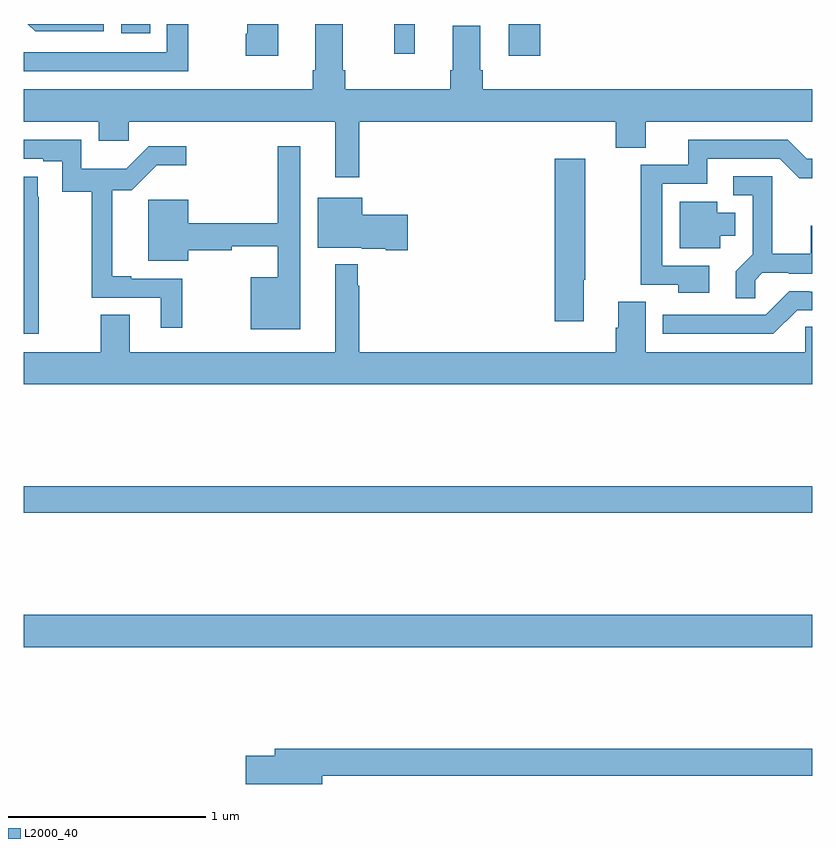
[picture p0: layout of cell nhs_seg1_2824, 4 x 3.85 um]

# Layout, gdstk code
import gdstk
lib = gdstk.Library(unit=1e-6, precision=1e-09)
def R(c, l, rs):  # rectangles x0, y0, x1, y1
    for r in rs: c.add(gdstk.rectangle(r[:2], r[2:], *l))
def P(c, l, *ps):  # polygons
    for p in ps: c.add(gdstk.Polygon(p, *l))
L2000_40 = (2000, 40)

nhs_seg1_2824 = lib.new_cell('nhs_seg1_2824')
R(nhs_seg1_2824, L2000_40, [(263,577.04,267,577.204), (263,577.72,267,577.856), (265.46,580.038,265.619,580.199), (264.88,580.047,264.983,580.199), (263.496,580.152,263.642,580.199)])
P(nhs_seg1_2824, L2000_40, [(264.292,580.199),(264.134,580.199),(264.134,580.15),(264.127,580.15),(264.127,580.038),(264.292,580.038)],
  [(263.836,580.199),(263.727,580.199),(263.727,580.056),(263,580.056),(263,579.96),(263.836,579.96)],
  [(263.406,580.199),(263.022,580.199),(263.06,580.161),(263.406,580.161)],
  [(264.703,579.704),(266.003,579.704),(266.003,579.571),(266.155,579.571),(266.155,579.704),(267,579.704),(267,579.868),(265.328,579.868),(265.328,579.964),(265.315,579.964),(265.315,580.189),(265.175,580.189),(265.175,579.964),(265.163,579.964),(265.163,579.868),(264.632,579.868),(264.632,579.964),(264.619,579.964),(264.619,580.199),(264.479,580.199),(264.479,579.964),(264.467,579.964),(264.467,579.868),(263,579.868),(263,579.704),(263.381,579.704),(263.381,579.606),(263.533,579.606),(263.533,579.704),(264.581,579.704),(264.581,579.423),(264.703,579.423)],
  [(263.806,578.907),(263.545,578.907),(263.545,578.92),(263.45,578.92),(263.45,579.357),(263.549,579.357),(263.675,579.482),(263.824,579.482),(263.824,579.579),(263.634,579.579),(263.521,579.466),(263.292,579.466),(263.292,579.612),(263,579.612),(263,579.516),(263.099,579.516),(263.099,579.502),(263.196,579.502),(263.196,579.349),(263.347,579.349),(263.347,578.811),(263.696,578.811),(263.696,578.658),(263.806,578.658)],
  [(266.476,578.973),(266.238,578.973),(266.238,579.39),(266.467,579.39),(266.467,579.516),(266.835,579.516),(266.934,579.418),(267,579.418),(267,579.516),(266.97,579.516),(266.874,579.612),(266.369,579.612),(266.369,579.486),(266.13,579.486),(266.13,578.877),(266.32,578.877),(266.32,578.837),(266.476,578.837)],
  [(264.403,579.58),(264.289,579.58),(264.289,579.188),(263.836,579.188),(263.836,579.309),(263.633,579.309),(263.633,578.999),(263.836,578.999),(263.836,579.052),(264.056,579.052),(264.056,579.071),(264.289,579.071),(264.289,578.914),(264.152,578.914),(264.152,578.651),(264.403,578.651)],
  [(265.84,578.903),(265.848,578.903),(265.848,579.517),(265.694,579.517),(265.694,578.691),(265.84,578.691)],
  [(266.709,578.9),(266.746,578.937),(266.88,578.937),(266.88,578.934),(267,578.934),(267,579.177),(266.992,579.177),(266.992,579.034),(266.795,579.034),(266.795,579.426),(266.598,579.426),(266.598,579.33),(266.697,579.33),(266.697,579.031),(266.611,578.945),(266.611,578.809),(266.709,578.809)],
  [(263.078,579.323),(263.072,579.323),(263.072,579.425),(263,579.425),(263,578.628),(263.078,578.628)],
  [(264.949,579.231),(264.718,579.231),(264.718,579.319),(264.491,579.319),(264.491,579.065),(264.714,579.065),(264.714,579.059),(264.836,579.059),(264.836,579.053),(264.949,579.053)],
  [(266.533,579.125),(266.608,579.125),(266.608,579.241),(266.518,579.241),(266.518,579.298),(266.327,579.298),(266.327,579.062),(266.533,579.062)],
  [(264.581,578.98),(264.581,578.536),(263.539,578.536),(263.539,578.726),(263.392,578.726),(263.392,578.536),(263,578.536),(263,578.372),(267,578.372),(267,578.663),(266.964,578.663),(266.964,578.536),(266.155,578.536),(266.155,578.792),(266.015,578.792),(266.015,578.658),(266.003,578.658),(266.003,578.536),(264.703,578.536),(264.703,578.873),(264.695,578.873),(264.695,578.98)],
  [(266.922,578.748),(267,578.748),(267,578.841),(266.984,578.841),(266.984,578.844),(266.883,578.844),(266.763,578.724),(266.24,578.724),(266.24,578.628),(266.802,578.628)],
  [(264.514,576.388),(267,576.388),(267,576.524),(264.275,576.524),(264.275,576.488),(264.126,576.488),(264.126,576.346),(264.514,576.346)])

lib.write_gds('nhs_seg1_2824.gds')
